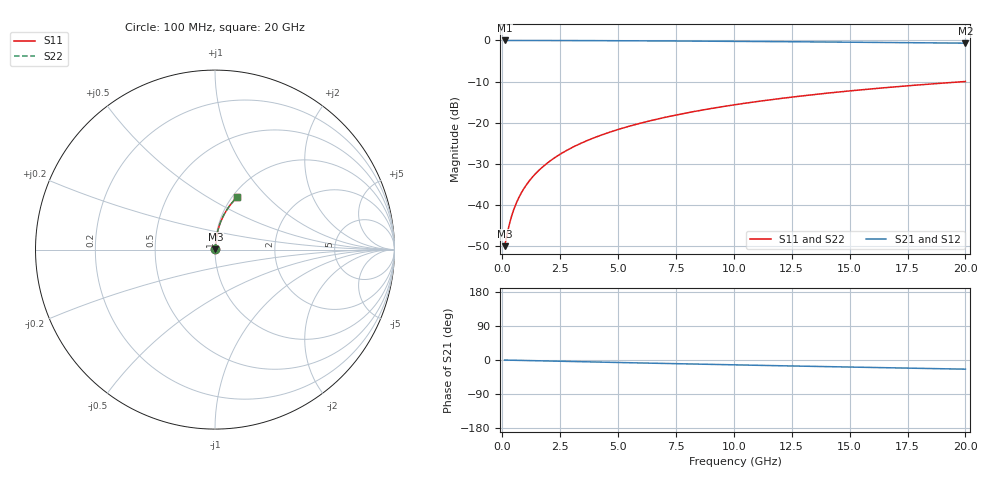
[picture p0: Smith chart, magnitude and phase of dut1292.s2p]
! Touchstone file exported from HFSS 2024.1.0
!  File:  C:/UserFiles/LocalFiles/RDL_TSV_Batchsim/temp_RDL_bottom_1292_1780247130.aedt
!  Generated:  01:08:22 AM Jun  1, 2026
!  Design:  RDL_bottom
!  Project:  temp_RDL_bottom_1292_1780247130
!  Setup:  Setup1
!  Solution:  Sweep
! Variables:
!  dtsv = 10.80580581um
!  hbump = 3um
!  htsv = 80.12um
!  ldown = 260.14um
!  lrdl = 100um
!  p = 40
!  p1 = 49.77um
!  rhole = 1um
!  t = 450um
!  tdown = 3.33um
!  trdl = 3.915915916um
!  wdown = 10.87um
!  wrdl = 20um
# GHz S MA R 50.000000
! Terminal data exported
! Port[1] = RDL1_T1
! Port[2] = RDL1_T2
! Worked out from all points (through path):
!   200 points, 100 MHz to 20 GHz, reference 50 ohm
!   highest |S21| = -0.02 dB at 100 MHz (marker M1); lowest = -0.7 dB at 20 GHz (marker M2)
!   group delay of S21, straight-line fit = 3.35 ps
!   lowest |S11| = -50.0 dB at 100 MHz (marker M3), VSWR 1.01, Z = 50.3 + j0.171 ohm
!   |S11| at or under -10 dB: start of sweep to 19.98 GHz
!   |S22| runs from -50.0 to -10.0 dB; largest |S21 - S12| = 6.1e-15
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0.1  0.00317 32.4  0.9973 -0.1  0.9973 -0.1  0.00317 32.4
! Gamma 0 0 0 0
! Port Impedance 50 0 50 0
0.2  0.004341 51.4  0.9973 -0.3  0.9973 -0.3  0.004341 51.4
0.3  0.005776 61.5  0.9972 -0.4  0.9972 -0.4  0.005776 61.5
0.4  0.007311 67.4  0.9972 -0.5  0.9972 -0.5  0.007311 67.4
0.5  0.008889 71.2  0.9971 -0.7  0.9971 -0.7  0.008889 71.2
0.6  0.01049 73.7  0.9971 -0.8  0.9971 -0.8  0.01049 73.7
0.8  0.01371 77.0  0.9969 -1.1  0.9969 -1.1  0.01371 77.0
1.1  0.01857 79.8  0.9967 -1.5  0.9967 -1.5  0.01857 79.8
1.5  0.0251 81.6  0.9963 -2.0  0.9963 -2.0  0.0251 81.6
1.8  0.03001 82.4  0.996 -2.4  0.996 -2.4  0.03001 82.4
2.1  0.03493 82.9  0.9957 -2.8  0.9957 -2.8  0.03493 82.9
2.7  0.0448 83.3  0.9949 -3.6  0.9949 -3.6  0.0448 83.3
3.5  0.05798 83.3  0.9935 -4.6  0.9935 -4.6  0.05798 83.3
4.2  0.06953 83.1  0.992 -5.5  0.992 -5.5  0.06953 83.1
5  0.08273 82.6  0.99 -6.6  0.99 -6.6  0.08273 82.6
5.9  0.09758 81.9  0.9875 -7.7  0.9875 -7.7  0.09758 81.9
6.8  0.1124 81.1  0.9848 -8.9  0.9848 -8.9  0.1124 81.1
8.3  0.137 79.7  0.9796 -10.7  0.9796 -10.7  0.137 79.7
10.1  0.1663 77.9  0.9726 -12.9  0.9726 -12.9  0.1663 77.9
13.4  0.2186 74.3  0.9582 -16.8  0.9582 -16.8  0.2187 74.3
16.7  0.2689 70.7  0.9421 -20.6  0.9421 -20.6  0.2689 70.7
20  0.3165 67.1  0.9247 -24.2  0.9247 -24.2  0.3165 67.1
